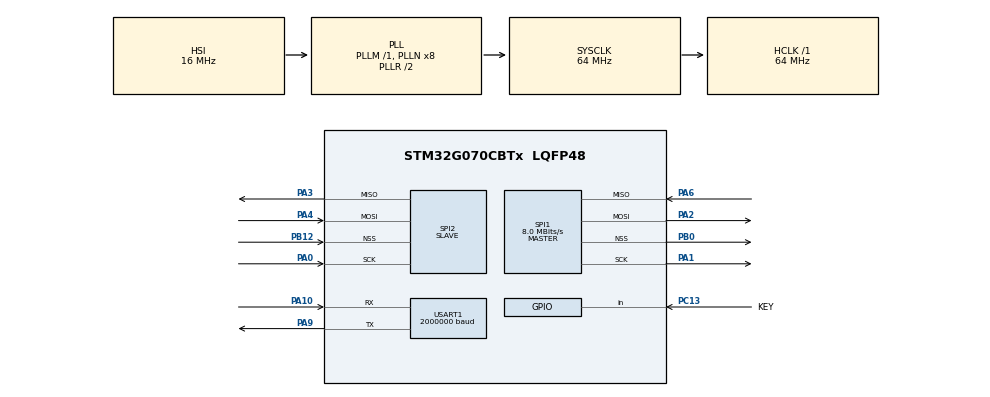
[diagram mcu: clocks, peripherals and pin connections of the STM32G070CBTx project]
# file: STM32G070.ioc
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Dma.Request0=SPI2_RX
Dma.Request1=SPI2_TX
Dma.Request2=SPI1_RX
Dma.Request3=SPI1_TX
Dma.SPI1_RX.2.Direction=DMA_PERIPH_TO_MEMORY
Dma.SPI1_RX.2.EventEnable=DISABLE
Dma.SPI1_RX.2.Instance=DMA1_Channel3
Dma.SPI1_RX.2.MemDataAlignment=DMA_MDATAALIGN_HALFWORD
Dma.SPI1_RX.2.MemInc=DMA_MINC_ENABLE
Dma.SPI1_RX.2.Mode=DMA_NORMAL
Dma.SPI1_RX.2.PeriphDataAlignment=DMA_PDATAALIGN_HALFWORD
Dma.SPI1_RX.2.PeriphInc=DMA_PINC_DISABLE
Dma.SPI1_RX.2.Polarity=HAL_DMAMUX_REQ_GEN_RISING
Dma.SPI1_RX.2.Priority=DMA_PRIORITY_VERY_HIGH
Dma.SPI1_RX.2.RequestNumber=1
Dma.SPI1_RX.2.SignalID=NONE
Dma.SPI1_RX.2.SyncEnable=DISABLE
Dma.SPI1_RX.2.SyncPolarity=HAL_DMAMUX_SYNC_NO_EVENT
Dma.SPI1_RX.2.SyncRequestNumber=1
Dma.SPI1_RX.2.SyncSignalID=NONE
Dma.SPI1_TX.3.Direction=DMA_MEMORY_TO_PERIPH
Dma.SPI1_TX.3.EventEnable=DISABLE
Dma.SPI1_TX.3.Instance=DMA1_Channel4
Dma.SPI1_TX.3.MemDataAlignment=DMA_MDATAALIGN_HALFWORD
Dma.SPI1_TX.3.MemInc=DMA_MINC_ENABLE
Dma.SPI1_TX.3.Mode=DMA_NORMAL
Dma.SPI1_TX.3.PeriphDataAlignment=DMA_PDATAALIGN_HALFWORD
Dma.SPI1_TX.3.PeriphInc=DMA_PINC_DISABLE
Dma.SPI1_TX.3.Polarity=HAL_DMAMUX_REQ_GEN_RISING
Dma.SPI1_TX.3.Priority=DMA_PRIORITY_LOW
Dma.SPI1_TX.3.RequestNumber=1
Dma.SPI1_TX.3.SignalID=NONE
Dma.SPI1_TX.3.SyncEnable=DISABLE
Dma.SPI1_TX.3.SyncPolarity=HAL_DMAMUX_SYNC_NO_EVENT
Dma.SPI1_TX.3.SyncRequestNumber=1
Dma.SPI1_TX.3.SyncSignalID=NONE
Dma.SPI2_RX.0.Direction=DMA_PERIPH_TO_MEMORY
Dma.SPI2_RX.0.EventEnable=DISABLE
Dma.SPI2_RX.0.Instance=DMA1_Channel1
Dma.SPI2_RX.0.MemDataAlignment=DMA_MDATAALIGN_HALFWORD
Dma.SPI2_RX.0.MemInc=DMA_MINC_ENABLE
Dma.SPI2_RX.0.Mode=DMA_NORMAL
Dma.SPI2_RX.0.PeriphDataAlignment=DMA_PDATAALIGN_HALFWORD
Dma.SPI2_RX.0.PeriphInc=DMA_PINC_DISABLE
Dma.SPI2_RX.0.Polarity=HAL_DMAMUX_REQ_GEN_RISING
Dma.SPI2_RX.0.Priority=DMA_PRIORITY_HIGH
Dma.SPI2_RX.0.RequestNumber=1
Dma.SPI2_RX.0.SignalID=NONE
Dma.SPI2_RX.0.SyncEnable=ENABLE
Dma.SPI2_RX.0.SyncPolarity=HAL_DMAMUX_SYNC_RISING
Dma.SPI2_RX.0.SyncRequestNumber=1
Dma.SPI2_RX.0.SyncSignalID=NONE
Dma.SPI2_TX.1.Direction=DMA_MEMORY_TO_PERIPH
Dma.SPI2_TX.1.EventEnable=DISABLE
Dma.SPI2_TX.1.Instance=DMA1_Channel2
Dma.SPI2_TX.1.MemDataAlignment=DMA_MDATAALIGN_HALFWORD
Dma.SPI2_TX.1.MemInc=DMA_MINC_ENABLE
Dma.SPI2_TX.1.Mode=DMA_NORMAL
Dma.SPI2_TX.1.PeriphDataAlignment=DMA_PDATAALIGN_HALFWORD
Dma.SPI2_TX.1.PeriphInc=DMA_PINC_DISABLE
Dma.SPI2_TX.1.Polarity=HAL_DMAMUX_REQ_GEN_RISING
Dma.SPI2_TX.1.Priority=DMA_PRIORITY_LOW
Dma.SPI2_TX.1.RequestNumber=1
Dma.SPI2_TX.1.SignalID=NONE
Dma.SPI2_TX.1.SyncEnable=DISABLE
Dma.SPI2_TX.1.SyncPolarity=HAL_DMAMUX_SYNC_NO_EVENT
Dma.SPI2_TX.1.SyncRequestNumber=1
Dma.SPI2_TX.1.SyncSignalID=NONE
Mcu.Family=STM32G0
Mcu.Name=STM32G070CBTx
Mcu.Package=LQFP48
NVIC.DMA1_Ch4_7_DMAMUX1_OVR_IRQn=true\:0\:0\:false\:false\:true\:false\:true\:true
NVIC.DMA1_Channel1_IRQn=true\:0\:0\:false\:false\:true\:false\:true\:true
NVIC.DMA1_Channel2_3_IRQn=true\:0\:0\:false\:false\:true\:false\:true\:true
NVIC.SPI1_IRQn=true\:0\:0\:false\:false\:true\:true\:true\:true
NVIC.SPI2_IRQn=true\:0\:0\:false\:false\:true\:true\:true\:true
NVIC.USART1_IRQn=true\:0\:0\:false\:false\:true\:true\:true\:true
PA0.Mode=Full_Duplex_Slave
PA0.Signal=SPI2_SCK
PA1.Mode=Full_Duplex_Master
PA1.Signal=SPI1_SCK
PA10.Mode=Asynchronous
PA10.Signal=USART1_RX
PA13.Mode=Serial_Wire
PA13.Signal=SYS_SWDIO
PA14-BOOT0.Mode=Serial_Wire
PA14-BOOT0.Signal=SYS_SWCLK
PA2.Mode=Full_Duplex_Master
PA2.Signal=SPI1_MOSI
PA3.Mode=Full_Duplex_Slave
PA3.Signal=SPI2_MISO
PA4.Mode=Full_Duplex_Slave
PA4.Signal=SPI2_MOSI
PA6.Mode=Full_Duplex_Master
PA6.Signal=SPI1_MISO
PA9.Mode=Asynchronous
PA9.Signal=USART1_TX
PB0.Mode=NSS_Signal_Hard_Output
PB0.Signal=SPI1_NSS
PB12.Mode=NSS_Signal_Hard_Input
PB12.Signal=SPI2_NSS
PC13.GPIO_Label=KEY
PC13.GPIO_PuPd=GPIO_PULLUP
PC13.Signal=GPIO_Input
PF0-OSC_IN\ (PF0).Mode=HSE-External-Oscillator
PF0-OSC_IN\ (PF0).Signal=RCC_OSC_IN
PF1-OSC_OUT\ (PF1).Mode=HSE-External-Oscillator
PF1-OSC_OUT\ (PF1).Signal=RCC_OSC_OUT
ProjectManager.HeapSize=0x200
ProjectManager.StackSize=0x400
ProjectManager.TargetToolchain=EWARM V8.50
RCC.ADCFreq_Value=64000000
RCC.AHBFreq_Value=64000000
RCC.CortexFreq_Value=64000000
RCC.EXTERNAL_CLOCK_VALUE=48000
RCC.HCLKFreq_Value=64000000
RCC.HSE_VALUE=16000000
RCC.HSI_VALUE=16000000
RCC.LSE_VALUE=32768
RCC.SYSCLKFreq_VALUE=64000000
RCC.SYSCLKSource=RCC_SYSCLKSOURCE_PLLCLK
RCC.VCOOutputFreq_Value=128000000
SPI1.BaudRatePrescaler=SPI_BAUDRATEPRESCALER_8
SPI1.CalculateBaudRate=8.0 MBits/s
SPI1.DataSize=SPI_DATASIZE_16BIT
SPI1.Direction=SPI_DIRECTION_2LINES
SPI1.Mode=SPI_MODE_MASTER
SPI1.NSSPMode=SPI_NSS_PULSE_DISABLE
SPI1.VirtualNSS=VM_NSSHARD
SPI1.VirtualType=VM_MASTER
SPI2.DataSize=SPI_DATASIZE_16BIT
SPI2.Direction=SPI_DIRECTION_2LINES
SPI2.Mode=SPI_MODE_SLAVE
SPI2.VirtualNSS=VM_NSSHARD
SPI2.VirtualType=VM_SLAVE
USART1.BaudRate=2000000
USART1.FIFOMode=FIFOMODE_ENABLE
USART1.RXFIFOThreshold=RXFIFO_THRESHOLD_1QUARTERFULL
USART1.VirtualMode-Asynchronous=VM_ASYNC
VP_SYS_VS_DBSignals.Mode=DisableDeadBatterySignals
board=custom

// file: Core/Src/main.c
/* USER CODE BEGIN Header */
/**
  ******************************************************************************
  * @file           : main.c
  * @brief          : Main program body
  ******************************************************************************
  * @attention
  *
  * Copyright (c) 2022 STMicroelectronics.
  * All rights reserved.
  *
  * This software is licensed under terms that can be found in the LICENSE file
  * in the root directory of this software component.
  * If no LICENSE file comes with this software, it is provided AS-IS.
  *
  ******************************************************************************
  */
/* USER CODE END Header */
#include "main.h"

/* USER CODE BEGIN PD */
#define UART1LEN	8	        /* длина буфера для uart1 */
#define SPI1LEN         1024	        /* длина буфера для spi1 */
#define SPI2LEN         SPI1LEN * 2	/* длина буфера для spi2 */
/* USER CODE END PD */

SPI_HandleTypeDef hspi1;
SPI_HandleTypeDef hspi2;
DMA_HandleTypeDef hdma_spi1_rx;
DMA_HandleTypeDef hdma_spi1_tx;
DMA_HandleTypeDef hdma_spi2_rx;
DMA_HandleTypeDef hdma_spi2_tx;

UART_HandleTypeDef huart1;

/* USER CODE BEGIN PV */
uint8_t         uart1buf[UART1LEN];
uint16_t        spi1buf[SPI1LEN];       // master mode
uint16_t        spi2buf[SPI2LEN];       // slave mode
uint8_t         uart1index = 0;
uint16_t        spi2index = 0;		// индекс массива
/* USER CODE END PV */

void SystemClock_Config(void);
static void MX_GPIO_Init(void);
static void MX_DMA_Init(void);
static void MX_SPI1_Init(void);
static void MX_SPI2_Init(void);
static void MX_USART1_UART_Init(void);

/* USER CODE BEGIN 0 */
void HAL_UART_RxCpltCallback(UART_HandleTypeDef *huart)
{
        //if(huart->Instance == USART1) // для быстродействия закоментируем проверку
	{
                // не интересный вариант с промежуточным буфером
                //spi2buf[spi2index++] = (uart1buf[0] << 8) | uart1buf[1]; // переписываем полученные данные в выходной массив
                //HAL_UART_Receive_IT(&huart1, (uint8_t *)&uart1buf, 2); // получаем 2 восьмибитных слова по прерыванию UART

                // интересный вариант приема данных сразу в целевой массив
                HAL_UART_Receive_IT(&huart1, (uint8_t *)&spi2buf[spi2index++], 2); // получаем 2 восьмибитных слова по прерыванию UART
                if(spi2index >= SPI2LEN) // не допускаем выхода за пределы массива
                        spi2index = 0;
                if(spi2index == SPI2LEN / 2) // при заполнении буффера на половину отдаем данные по DMA
                        HAL_SPI_Transmit_DMA(&hspi2, (uint8_t *)&spi2buf[0], SPI2LEN / 2); // slave transmit use NSS signal +
                if(spi2index == SPI2LEN) // при заполнении буффера полностью отдаем данные по DMA начиная с середины и до конца массива
                        HAL_SPI_Transmit_DMA(&hspi2, (uint8_t *)&spi2buf[SPI2LEN / 2], SPI2LEN / 2); // slave transmit use NSS signal +
        }
}
/* USER CODE END 0 */

int main(void)
{

  /* MCU Configuration--------------------------------------------------------*/

  /* Reset of all peripherals, Initializes the Flash interface and the Systick. */
  HAL_Init();

  /* Configure the system clock */
  SystemClock_Config();

  /* Initialize all configured peripherals */
  MX_GPIO_Init();
  MX_DMA_Init();
  MX_SPI1_Init();
  MX_SPI2_Init();
  MX_USART1_UART_Init();
  /* USER CODE BEGIN 2 */

        for(uint16_t i = 0; i < SPI2LEN; i++) // генерируем набор данных для удобства отслеживания изменений в режиме отладки
                spi2buf[i] = SPI2LEN - i - 1;

        // прием данных SPI мастером по DMA
        //HAL_SPI_Receive_DMA(&hspi1, (uint8_t *)&spi1buf, SPI1LEN); // master receive use NSS signal +

        // передача данных по SPI слейвом
        //HAL_SPI_Transmit_DMA(&hspi1, (uint8_t *)&spi2buf, SPI2LEN); // master transmit +
        //HAL_SPI_Transmit(&hspi1, (uint8_t *)&spi2buf, SPI2LEN, 5000); // master transmit +
        HAL_SPI_Transmit_DMA(&hspi2, (uint8_t *)&spi2buf, SPI2LEN / 2); // slave transmit use NSS signal +
        //HAL_SPI_Transmit(&hspi2, (uint8_t *)&spi2buf, SPI2LEN, 5000); // slave transmit use NSS signal +

        // прием данных мастером
        //HAL_SPI_Receive_DMA(&hspi2, (uint8_t *)&spi1buf, SPI1LEN); // slave receave -
        //HAL_SPI_Receive(&hspi2, (uint8_t *)&spi1buf, SPI1LEN, 5000); // slave receive +
        HAL_SPI_Receive(&hspi1, (uint8_t *)&spi1buf, SPI1LEN, 5000); // master receive use NSS signal +

        //HAL_UART_Receive_IT(&huart1, (uint8_t *)&uart1buf, 2); // получаем символ с прерывания UART
        HAL_UART_Receive_IT(&huart1, (uint8_t *)&spi2buf[spi2index++], 2); // получаем 2 восьмибитных слова по прерыванию UART

  /* USER CODE END 2 */

  /* Infinite loop */
  while (1)
  {

  }
}

void SystemClock_Config(void)
{
  RCC_OscInitTypeDef RCC_OscInitStruct = {0};
  RCC_ClkInitTypeDef RCC_ClkInitStruct = {0};

  /** Configure the main internal regulator output voltage
  */
  HAL_PWREx_ControlVoltageScaling(PWR_REGULATOR_VOLTAGE_SCALE1);

  /** Initializes the RCC Oscillators according to the specified parameters
  * in the RCC_OscInitTypeDef structure.
  */
  RCC_OscInitStruct.OscillatorType = RCC_OSCILLATORTYPE_HSI;
  RCC_OscInitStruct.HSIState = RCC_HSI_ON;
  RCC_OscInitStruct.HSIDiv = RCC_HSI_DIV1;
  RCC_OscInitStruct.HSICalibrationValue = RCC_HSICALIBRATION_DEFAULT;
  RCC_OscInitStruct.PLL.PLLState = RCC_PLL_ON;
  RCC_OscInitStruct.PLL.PLLSource = RCC_PLLSOURCE_HSI;
  RCC_OscInitStruct.PLL.PLLM = RCC_PLLM_DIV1;
  RCC_OscInitStruct.PLL.PLLN = 8;
  RCC_OscInitStruct.PLL.PLLP = RCC_PLLP_DIV2;
  RCC_OscInitStruct.PLL.PLLR = RCC_PLLR_DIV2;
  if (HAL_RCC_OscConfig(&RCC_OscInitStruct) != HAL_OK)
  {
    Error_Handler();
  }

  /** Initializes the CPU, AHB and APB buses clocks
  */
  RCC_ClkInitStruct.ClockType = RCC_CLOCKTYPE_HCLK|RCC_CLOCKTYPE_SYSCLK
                              |RCC_CLOCKTYPE_PCLK1;
  RCC_ClkInitStruct.SYSCLKSource = RCC_SYSCLKSOURCE_PLLCLK;
  RCC_ClkInitStruct.AHBCLKDivider = RCC_SYSCLK_DIV1;
  RCC_ClkInitStruct.APB1CLKDivider = RCC_HCLK_DIV1;

  if (HAL_RCC_ClockConfig(&RCC_ClkInitStruct, FLASH_LATENCY_2) != HAL_OK)
  {
    Error_Handler();
  }
}

static void MX_SPI1_Init(void)
{

  /* SPI1 parameter configuration*/
  hspi1.Instance = SPI1;
  hspi1.Init.Mode = SPI_MODE_MASTER;
  hspi1.Init.Direction = SPI_DIRECTION_2LINES;
  hspi1.Init.DataSize = SPI_DATASIZE_16BIT;
  hspi1.Init.CLKPolarity = SPI_POLARITY_LOW;
  hspi1.Init.CLKPhase = SPI_PHASE_1EDGE;
  hspi1.Init.NSS = SPI_NSS_HARD_OUTPUT;
  hspi1.Init.BaudRatePrescaler = SPI_BAUDRATEPRESCALER_2;
  hspi1.Init.FirstBit = SPI_FIRSTBIT_MSB;
  hspi1.Init.TIMode = SPI_TIMODE_DISABLE;
  hspi1.Init.CRCCalculation = SPI_CRCCALCULATION_DISABLE;
  hspi1.Init.CRCPolynomial = 7;
  hspi1.Init.CRCLength = SPI_CRC_LENGTH_DATASIZE;
  hspi1.Init.NSSPMode = SPI_NSS_PULSE_DISABLE;
  if (HAL_SPI_Init(&hspi1) != HAL_OK)
  {
    Error_Handler();
  }

}

static void MX_SPI2_Init(void)
{

  /* SPI2 parameter configuration*/
  hspi2.Instance = SPI2;
  hspi2.Init.Mode = SPI_MODE_SLAVE;
  hspi2.Init.Direction = SPI_DIRECTION_2LINES;
  hspi2.Init.DataSize = SPI_DATASIZE_16BIT;
  hspi2.Init.CLKPolarity = SPI_POLARITY_LOW;
  hspi2.Init.CLKPhase = SPI_PHASE_1EDGE;
  hspi2.Init.NSS = SPI_NSS_HARD_INPUT;
  hspi2.Init.FirstBit = SPI_FIRSTBIT_MSB;
  hspi2.Init.TIMode = SPI_TIMODE_DISABLE;
  hspi2.Init.CRCCalculation = SPI_CRCCALCULATION_DISABLE;
  hspi2.Init.CRCPolynomial = 7;
  hspi2.Init.CRCLength = SPI_CRC_LENGTH_DATASIZE;
  hspi2.Init.NSSPMode = SPI_NSS_PULSE_DISABLE;
  if (HAL_SPI_Init(&hspi2) != HAL_OK)
  {
    Error_Handler();
  }

}

static void MX_USART1_UART_Init(void)
{

  huart1.Instance = USART1;
  huart1.Init.BaudRate = 2000000;
  huart1.Init.WordLength = UART_WORDLENGTH_8B;
  huart1.Init.StopBits = UART_STOPBITS_1;
  huart1.Init.Parity = UART_PARITY_NONE;
  huart1.Init.Mode = UART_MODE_TX_RX;
  huart1.Init.HwFlowCtl = UART_HWCONTROL_NONE;
  huart1.Init.OverSampling = UART_OVERSAMPLING_16;
  huart1.Init.OneBitSampling = UART_ONE_BIT_SAMPLE_DISABLE;
  huart1.Init.ClockPrescaler = UART_PRESCALER_DIV1;
  huart1.AdvancedInit.AdvFeatureInit = UART_ADVFEATURE_NO_INIT;
  if (HAL_UART_Init(&huart1) != HAL_OK)
  {
    Error_Handler();
  }
  if (HAL_UARTEx_SetTxFifoThreshold(&huart1, UART_TXFIFO_THRESHOLD_1_8) != HAL_OK)
  {
    Error_Handler();
  }
  if (HAL_UARTEx_SetRxFifoThreshold(&huart1, UART_RXFIFO_THRESHOLD_1_4) != HAL_OK)
  {
    Error_Handler();
  }
  if (HAL_UARTEx_EnableFifoMode(&huart1) != HAL_OK)
  {
    Error_Handler();
  }

}

static void MX_DMA_Init(void)
{

  /* DMA controller clock enable */
  __HAL_RCC_DMA1_CLK_ENABLE();

  /* DMA interrupt init */
  /* DMA1_Channel1_IRQn interrupt configuration */
  HAL_NVIC_SetPriority(DMA1_Channel1_IRQn, 0, 0);
  HAL_NVIC_EnableIRQ(DMA1_Channel1_IRQn);
  /* DMA1_Channel2_3_IRQn interrupt configuration */
  HAL_NVIC_SetPriority(DMA1_Channel2_3_IRQn, 0, 0);
  HAL_NVIC_EnableIRQ(DMA1_Channel2_3_IRQn);
  /* DMA1_Ch4_7_DMAMUX1_OVR_IRQn interrupt configuration */
  HAL_NVIC_SetPriority(DMA1_Ch4_7_DMAMUX1_OVR_IRQn, 0, 0);
  HAL_NVIC_EnableIRQ(DMA1_Ch4_7_DMAMUX1_OVR_IRQn);

}

static void MX_GPIO_Init(void)
{
  GPIO_InitTypeDef GPIO_InitStruct = {0};

  /* GPIO Ports Clock Enable */
  __HAL_RCC_GPIOC_CLK_ENABLE();
  __HAL_RCC_GPIOF_CLK_ENABLE();
  __HAL_RCC_GPIOA_CLK_ENABLE();
  __HAL_RCC_GPIOB_CLK_ENABLE();

  /*Configure GPIO pin : KEY_Pin */
  GPIO_InitStruct.Pin = KEY_Pin;
  GPIO_InitStruct.Mode = GPIO_MODE_INPUT;
  GPIO_InitStruct.Pull = GPIO_PULLUP;
  HAL_GPIO_Init(KEY_GPIO_Port, &GPIO_InitStruct);

}

void Error_Handler(void)
{
  __disable_irq();
  while (1)
  {
  }
}
